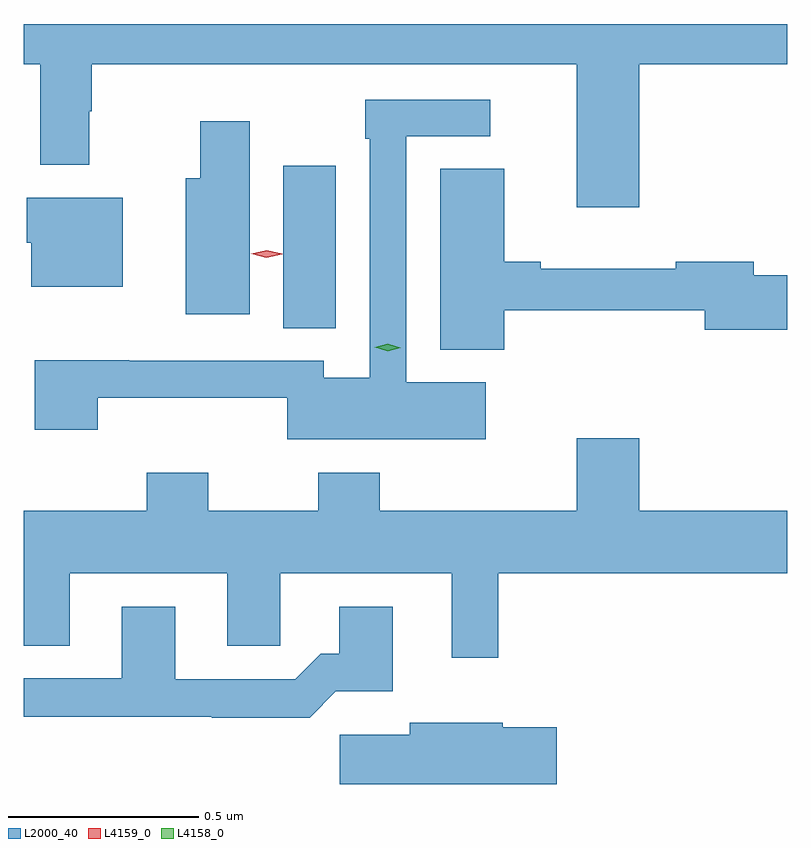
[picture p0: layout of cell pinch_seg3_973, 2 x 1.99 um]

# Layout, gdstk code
import gdstk
lib = gdstk.Library(unit=1e-6, precision=1e-09)
def R(c, l, rs):  # rectangles x0, y0, x1, y1
    for r in rs: c.add(gdstk.rectangle(r[:2], r[2:], *l))
def P(c, l, *ps):  # polygons
    for p in ps: c.add(gdstk.Polygon(p, *l))
L2000_40 = (2000, 40)
L4158_0 = (4158, 0)
L4159_0 = (4159, 0)

pinch_seg3_973 = lib.new_cell('pinch_seg3_973')
R(pinch_seg3_973, L2000_40, [(415.988,713.545,416.125,713.971)])
P(pinch_seg3_973, L2000_40, [(416.92,714.236),(417.308,714.236),(417.308,714.342),(415.308,714.342),(415.308,714.236),(415.351,714.236),(415.351,713.973),(415.48,713.973),(415.48,714.113),(415.487,714.113),(415.487,714.236),(416.756,714.236),(416.756,713.862),(416.92,713.862)],
  [(416.518,713.404),(416.31,713.404),(416.31,714.048),(416.53,714.048),(416.53,714.144),(416.202,714.144),(416.202,714.041),(416.214,714.041),(416.214,713.416),(416.094,713.416),(416.094,713.46),(415.585,713.46),(415.585,713.462),(415.337,713.462),(415.337,713.28),(415.502,713.28),(415.502,713.363),(415.998,713.363),(415.998,713.255),(416.518,713.255)],
  [(415.9,714.088),(415.771,714.088),(415.771,713.938),(415.733,713.938),(415.733,713.582),(415.9,713.582)],
  [(416.566,713.592),(417.092,713.592),(417.092,713.542),(417.308,713.542),(417.308,713.684),(417.22,713.684),(417.22,713.72),(417.016,713.72),(417.016,713.701),(416.662,713.701),(416.662,713.72),(416.566,713.72),(416.566,713.963),(416.399,713.963),(416.399,713.489),(416.566,713.489)],
  [(415.567,713.887),(415.316,713.887),(415.316,713.769),(415.328,713.769),(415.328,713.654),(415.567,713.654)],
  [(416.551,712.904),(417.308,712.904),(417.308,713.068),(416.92,713.068),(416.92,713.257),(416.756,713.257),(416.756,713.068),(416.24,713.068),(416.24,713.167),(416.08,713.167),(416.08,713.068),(415.791,713.068),(415.791,713.167),(415.631,713.167),(415.631,713.068),(415.308,713.068),(415.308,712.714),(415.429,712.714),(415.429,712.904),(415.841,712.904),(415.841,712.714),(415.98,712.714),(415.98,712.904),(416.429,712.904),(416.429,712.683),(416.551,712.683)],
  [(416.126,712.595),(416.275,712.595),(416.275,712.816),(416.135,712.816),(416.135,712.693),(416.086,712.693),(416.019,712.626),(415.705,712.626),(415.705,712.816),(415.565,712.816),(415.565,712.629),(415.308,712.629),(415.308,712.528),(415.801,712.528),(415.801,712.526),(416.057,712.526)],
  [(416.704,712.5),(416.562,712.5),(416.562,712.513),(416.319,712.513),(416.319,712.481),(416.136,712.481),(416.136,712.352),(416.704,712.352)])
P(pinch_seg3_973, L4158_0, [(416.261,713.485),(416.227,713.495),(416.226,713.495),(416.227,713.495),(416.261,713.505),(416.296,713.494),(416.296,713.494),(416.296,713.494)])
P(pinch_seg3_973, L4159_0, [(415.944,713.73),(415.904,713.74),(415.904,713.74),(415.904,713.74),(415.945,713.75),(415.985,713.74),(415.985,713.74),(415.985,713.739)])

lib.write_gds('pinch_seg3_973.gds')
